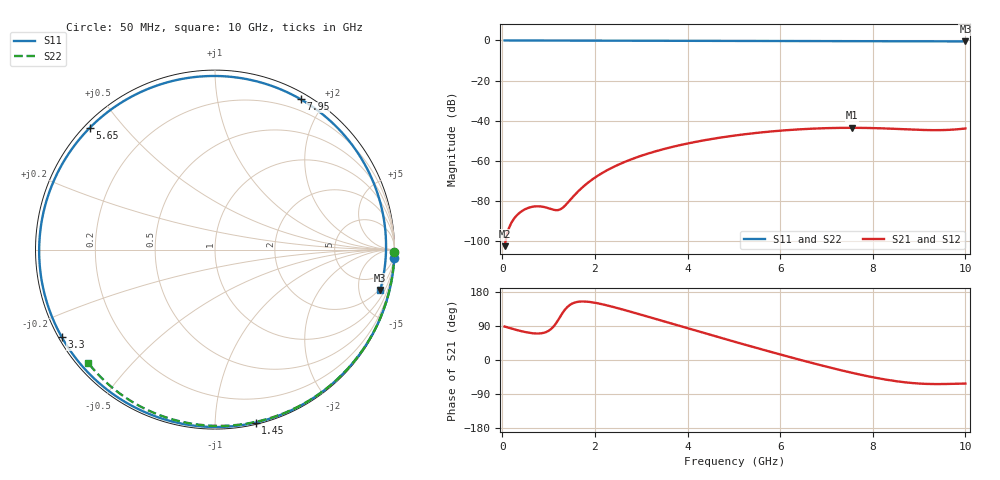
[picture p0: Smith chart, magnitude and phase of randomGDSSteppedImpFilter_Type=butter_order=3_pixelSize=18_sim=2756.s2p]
! freq	dB(S11)	phase(S11)	dB(S12)	phase(S12)
!  dB(S21)	phase(S21)	dB(S22)	phase(S22)
!S-par simulation data
#  GHz  S  DB  R 50
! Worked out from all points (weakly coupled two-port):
!   200 points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, 50 MHz to 10 GHz, reference 50 ohm
!   highest |S21| = -43.54 dB at 7.55 GHz (marker M1); lowest = -102.5 dB at 50 MHz (marker M2)
!   lowest |S11| = -0.5 dB at 10 GHz (marker M3), VSWR 37.13, Z = 89.4 - j395 ohm
!   |S11| at or under -10 dB: nowhere
!   |S22| runs from -0.5 to 0.0 dB; largest |S21 - S12| = 0
!   S11 on the Smith chart (normalised r, x): 50 MHz: 0, -40; 1.45 GHz: 0.01, -1.26; 3.3 GHz: 0.01, -0.26; 5.65 GHz: 0.02, +0.41; 7.95 GHz: 0.07, +1.72; 10 GHz: 1.79, -7.89
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0.05  -0.00 -2.8  -102.54 88.3  -102.54 88.3  -0.00 -0.8
0.4  -0.03 -22.4  -85.42 76.4  -85.42 76.4  -0.01 -6.4
0.8  -0.06 -44.1  -82.69 70.0  -82.69 70.0  -0.02 -12.7
1.1  -0.07 -59.6  -84.35 87.4  -84.35 87.4  -0.02 -17.4
1.45  -0.09 -76.7  -79.93 144.6  -79.93 144.6  -0.03 -22.9
1.75  -0.10 -90.5  -72.82 154.5  -72.82 154.5  -0.04 -27.6
2.05  -0.11 -103.5  -67.61 149.9  -67.61 149.9  -0.04 -32.2
2.4  -0.12 -117.7  -63.08 139.8  -63.08 139.8  -0.05 -37.5
2.85  -0.14 -134.6  -58.69 124.6  -58.69 124.6  -0.06 -44.3
3.3  -0.15 -150.4  -55.33 108.7  -55.33 108.7  -0.07 -50.9
3.4  -0.15 -153.8  -54.68 105.1  -54.68 105.1  -0.07 -52.4
4.2  -0.18 -179.6  -50.44 76.7  -50.44 76.7  -0.09 -63.9
5.05  -0.21 154.2  -47.30 47.0  -47.30 47.0  -0.12 -75.8
5.65  -0.24 135.8  -45.70 26.4  -45.70 26.4  -0.14 -83.9
6.2  -0.26 118.6  -44.63 8.0  -44.63 8.0  -0.16 -91.1
6.7  -0.28 102.6  -43.97 -8.2  -43.97 -8.2  -0.19 -97.6
7.55  -0.30 74.2  -43.54 -33.8  -43.54 -33.8  -0.24 -108.3
7.95  -0.32 60.3  -43.65 -44.3  -43.65 -44.3  -0.27 -113.3
8.35  -0.33 46.2  -43.93 -53.1  -43.93 -53.1  -0.30 -118.2
9.2  -0.38 15.5  -44.68 -63.2  -44.68 -63.2  -0.38 -128.5
9.6  -0.42 0.8  -44.61 -63.3  -44.61 -63.3  -0.42 -133.3
10  -0.47 -13.8  -43.88 -62.2  -43.88 -62.2  -0.47 -138.1
